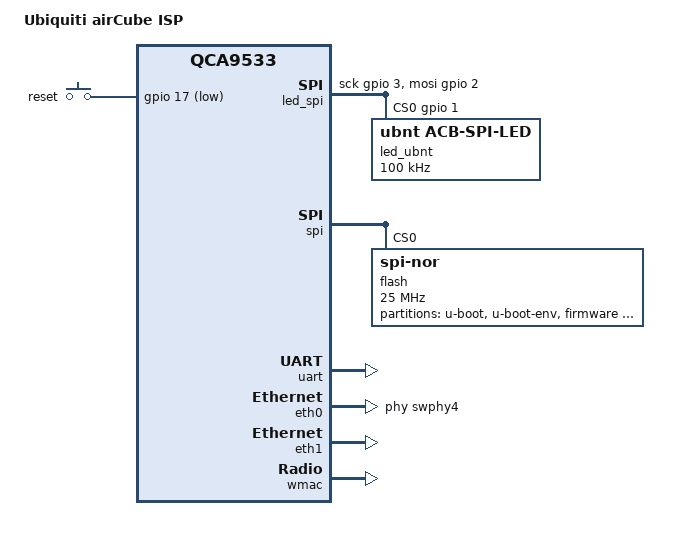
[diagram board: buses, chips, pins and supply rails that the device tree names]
// SPDX-License-Identifier: GPL-2.0-or-later OR MIT
/dts-v1/;

#include <dt-bindings/gpio/gpio.h>
#include <dt-bindings/input/input.h>

#include "qca953x.dtsi"

/ {
	compatible = "ubnt,acb-isp", "qca,qca9533";
	model = "Ubiquiti airCube ISP";

	keys {
		compatible = "gpio-keys";

		reset {
			label = "reset";
			linux,code = <KEY_RESTART>;
			gpios = <&gpio 17 GPIO_ACTIVE_LOW>;
			debounce-interval = <60>;
		};
	};

	led_spi {
		compatible = "spi-gpio";
		#address-cells = <1>;
		#size-cells = <0>;

		gpio-sck = <&gpio 3 GPIO_ACTIVE_HIGH>;
		gpio-mosi = <&gpio 2 GPIO_ACTIVE_HIGH>;
		cs-gpios = <&gpio 1 GPIO_ACTIVE_HIGH>;
		num-chipselects = <1>;

		led_ubnt@0 {
			compatible = "ubnt,acb-spi-led";
			reg = <0>;
			spi-max-frequency = <100000>;

			led {
				label = "white:status";
				default-state = "on";
			};
		};
	};
};

&spi {
	status = "okay";
	num-cs = <1>;

	flash@0 {
		compatible = "jedec,spi-nor";
		reg = <0>;
		spi-max-frequency = <25000000>;

		partitions {
			compatible = "fixed-partitions";
			#address-cells = <1>;
			#size-cells = <1>;

			partition@0 {
				label = "u-boot";
				reg = <0x000000 0x040000>;
				read-only;
			};

			partition@40000 {
				label = "u-boot-env";
				reg = <0x040000 0x010000>;
				read-only;
			};

			partition@50000 {
				compatible = "denx,uimage";
				label = "firmware";
				reg = <0x050000 0xf60000>;
			};

			partition@fb0000 {
				label = "cfg";
				reg = <0xfb0000 0x040000>;
				read-only;
			};

			eeprom: partition@ff0000 {
				label = "EEPROM";
				reg = <0xff0000 0x010000>;
				read-only;
			};
		};
	};
};

&uart {
	status = "okay";
};

&eth0 {
	status = "okay";
	mtd-mac-address = <&eeprom 0x0>;
	phy-handle = <&swphy4>;
};

&eth1 {
	status = "okay";
	mtd-mac-address = <&eeprom 0x6>;

	gmac-config {
		device = <&gmac>;
	};
};

&wmac {
	status = "okay";
	mtd-cal-data = <&eeprom 0x1000>;
	mtd-mac-address = <&eeprom 0x1002>;
};
